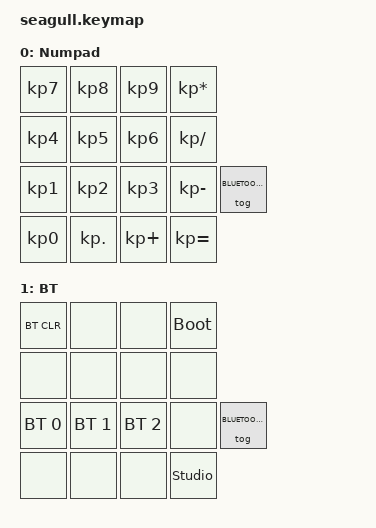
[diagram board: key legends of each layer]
#include <behaviors.dtsi>
#include <dt-bindings/zmk/keys.h>
#include <dt-bindings/zmk/bt.h>

#define NUMPAD      0
#define BLUETOOTH   1

/ {
    keymap {
        compatible = "zmk,keymap";

        /* ================= NUMPAD ================= */
        layer_numpad {
            display-name = "Numpad";

            bindings = <
                &kp KP_N7       &kp KP_N8        &kp KP_N9        &kp KP_MULTIPLY
                &kp KP_N4       &kp KP_N5        &kp KP_N6        &kp KP_DIVIDE
                &kp KP_N1       &kp KP_N2        &kp KP_N3        &kp KP_MINUS    &tog BLUETOOTH
                &kp KP_N0       &kp KP_DOT       &kp KP_PLUS      &kp KP_EQUAL
            >;

            /* encoder CW / CCW */
            encoder-bindings = <
                &inc_dec_kp C_VOL_UP C_VOL_DN
            >;
        };

        /* ================= BLUETOOTH ================= */
        layer_bluetooth {
            display-name = "BT";

            bindings = <
                &bt BT_CLR      &none         &none           &bootloader
                &none           &none         &none           &none
                &bt BT_SEL 0    &bt BT_SEL 1  &bt BT_SEL 2    &none        &tog BLUETOOTH
                &none           &none         &none           &studio_unlock
            >;

            /* encoder tetap aktif di layer BT */
            encoder-bindings = <
                &inc_dec_kp C_VOL_UP C_VOL_DN
            >;
        };

        /* ================= RESERVED (ZMK STUDIO) ================= */
        extra1 {
            status = "reserved";
        };

        extra2 {
            status = "reserved";
        };
    };
};
